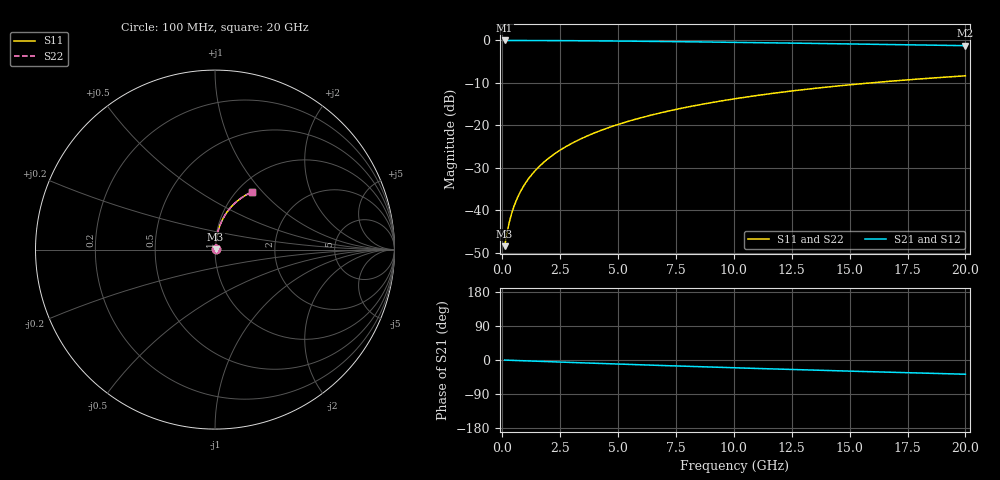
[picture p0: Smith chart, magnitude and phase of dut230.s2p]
! Touchstone file exported from HFSS 2024.1.0
!  File:  C:/UserFiles/LocalFiles/RDL_TSV_Batchsim/temp_RDL_bottom_230_1778700789.aedt
!  Generated:  03:36:04 AM May 14, 2026
!  Design:  RDL_bottom
!  Project:  temp_RDL_bottom_230_1778700789
!  Setup:  Setup1
!  Solution:  Sweep
! Variables:
!  dtsv = 10.80580581um
!  hbump = 3um
!  htsv = 80.7um
!  ldown = 514.52um
!  lrdl = 100um
!  p = 40
!  p1 = 45.3um
!  rhole = 1um
!  t = 450um
!  tdown = 3.7um
!  trdl = 3.915915916um
!  wdown = 16.54um
!  wrdl = 20um
# GHz S MA R 50.000000
! Terminal data exported
! Port[1] = RDL1_T1
! Port[2] = RDL1_T2
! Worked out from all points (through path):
!   200 points, 100 MHz to 20 GHz, reference 50 ohm
!   highest |S21| = -0.03 dB at 100 MHz (marker M1); lowest = -1.3 dB at 20 GHz (marker M2)
!   group delay of S21, straight-line fit = 5.2 ps
!   lowest |S11| = -48.4 dB at 100 MHz (marker M3), VSWR 1.01, Z = 50.3 + j0.219 ohm
!   |S11| at or under -10 dB: start of sweep to 15.91 GHz
!   |S22| runs from -48.4 to -8.3 dB; largest |S21 - S12| = 3e-15
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0.1  0.003805 34.9  0.9969 -0.2  0.9969 -0.2  0.003805 34.9
! Gamma 0 0 0 0
! Port Impedance 50 0 50 0
0.2  0.005388 53.3  0.9968 -0.5  0.9968 -0.5  0.005388 53.3
0.3  0.007232 62.4  0.9966 -0.7  0.9966 -0.7  0.007232 62.4
0.4  0.009148 67.7  0.9965 -0.9  0.9965 -0.9  0.009148 67.7
0.5  0.01109 71.1  0.9964 -1.1  0.9964 -1.1  0.01109 71.1
0.6  0.01304 73.5  0.9962 -1.3  0.9962 -1.3  0.01304 73.5
0.8  0.01698 76.6  0.9959 -1.8  0.9959 -1.8  0.01698 76.6
1.1  0.02295 79.3  0.9955 -2.4  0.9955 -2.4  0.02295 79.3
1.3  0.02696 80.3  0.9951 -2.9  0.9951 -2.9  0.02696 80.3
1.6  0.03301 81.3  0.9945 -3.5  0.9945 -3.5  0.03301 81.3
2.1  0.04314 82.1  0.9933 -4.6  0.9933 -4.6  0.04314 82.1
2.7  0.05536 82.3  0.9915 -5.9  0.9915 -5.9  0.05536 82.3
3.5  0.07173 82.0  0.9884 -7.6  0.9884 -7.6  0.07173 82.0
4.2  0.08612 81.5  0.9852 -9.1  0.9852 -9.1  0.08612 81.5
5  0.1026 80.7  0.981 -10.7  0.981 -10.7  0.1026 80.7
5.9  0.1212 79.6  0.9758 -12.5  0.9758 -12.5  0.1212 79.6
6.8  0.1397 78.4  0.9702 -14.3  0.9702 -14.3  0.1397 78.4
8.4  0.1725 76.0  0.9592 -17.5  0.9592 -17.5  0.1725 76.0
10.1  0.2069 73.3  0.9467 -20.7  0.9467 -20.7  0.2069 73.3
13.4  0.2708 67.8  0.9207 -26.6  0.9207 -26.6  0.2708 67.8
16.7  0.3298 62.4  0.8934 -32.2  0.8934 -32.2  0.3298 62.4
20  0.3828 57.1  0.8657 -37.5  0.8657 -37.5  0.3828 57.1
